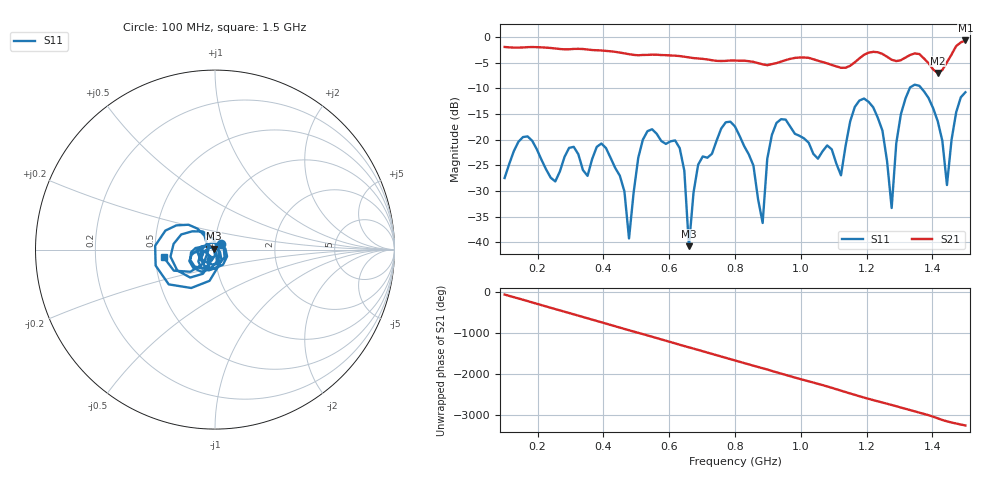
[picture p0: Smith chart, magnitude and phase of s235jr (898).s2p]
! NanoVNA-App
! Date: 2025-09-25 15:11:09
! Start: 100MHz Stop: 1,5GHz Points: 101
! S-Parameter data: F S11 S21 S12 S22
# Hz S RI R 50
!  Frequency  S11_Real  S11_Imag  S21_Real  S21_Imag  S12_Real  S12_Imag  S22_Real  S22_Imag
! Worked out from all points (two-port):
!   101 points, 100 MHz to 1.5 GHz, reference 50 ohm
!   highest |S21| = -0.70 dB at 1.5 GHz (marker M1); lowest = -7.0 dB at 1.416 GHz (marker M2)
!   |S21| within 3 dB of the highest: start of sweep to 624.5 MHz; 1.188 GHz to 1.258 GHz (69.65 MHz wide, 5.7 % of centre) (the widest 2 of 4)
!   lowest |S11| = -40.7 dB at 660 MHz (marker M3), VSWR 1.02, Z = 49.3 + j0.562 ohm
!   |S11| at or under -10 dB: start of sweep to 1.331 GHz; 1.366 GHz to end of sweep
!   S12 and S22 are empty: the file has one direction only
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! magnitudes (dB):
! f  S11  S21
! 100 MHz  -27.5  -2.0
! 170 MHz  -19.4  -2.0
! 338 MHz  -25.9  -2.4
! 408 MHz  -21.6  -2.7
! 478 MHz  -39.2  -3.4
! 520 MHz  -20.0  -3.5
! 576 MHz  -20.3  -3.5
! 632 MHz  -21.7  -3.7
! 660 MHz  -40.7  -4.0
! 688 MHz  -24.9  -4.2
! 800 MHz  -17.4  -4.6
! 884 MHz  -36.2  -5.3
! 926 MHz  -16.8  -5.1
! 1.038 GHz  -22.8  -4.4
! 1.122 GHz  -27.0  -6.0
! 1.192 GHz  -12.0  -3.5
! 1.248 GHz  -18.3  -3.3
! 1.276 GHz  -33.3  -4.4
! 1.332 GHz  -9.8  -3.5
! 1.416 GHz  -16.4  -7.0
! 1.444 GHz  -28.8  -4.9
! 1.5 GHz  -10.8  -0.7
